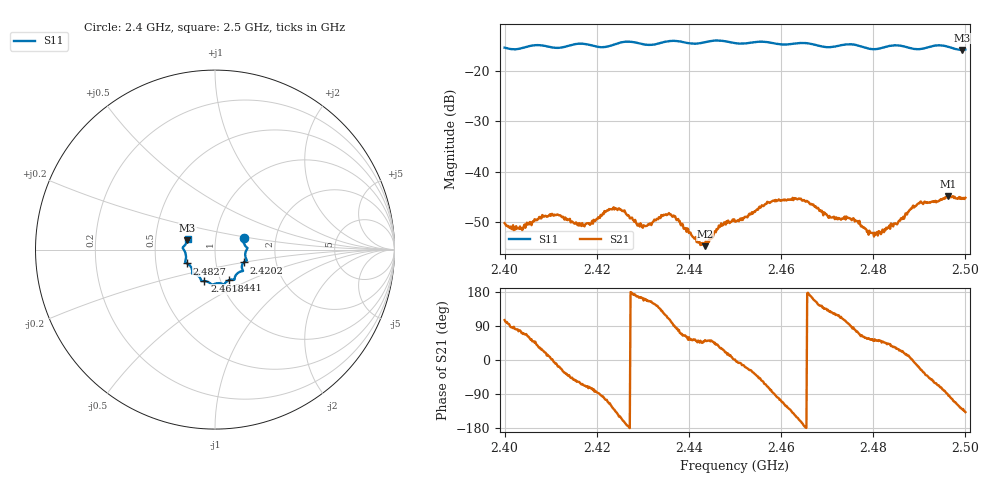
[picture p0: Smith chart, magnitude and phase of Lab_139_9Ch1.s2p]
# Hz S RI R 50
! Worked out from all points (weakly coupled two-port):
!   601 points, 2.4 GHz to 2.5 GHz, reference 50 ohm
!   highest |S21| = -44.86 dB at 2.4962 GHz (marker M1); lowest = -54.9 dB at 2.4435 GHz (marker M2)
!   lowest |S11| = -15.8 dB at 2.4993 GHz (marker M3), VSWR 1.39, Z = 36.5 + j3.83 ohm
!   |S11| at or under -10 dB: start of sweep to end of sweep
!   S12 and S22 are empty: the file has one direction only
!   S11 on the Smith chart (normalised r, x): 2.4 GHz: 1.36, +0.18; 2.4202 GHz: 1.36, -0.20; 2.441 GHz: 1.10, -0.39; 2.4618 GHz: 0.84, -0.30; 2.4827 GHz: 0.72, -0.11; 2.5 GHz: 0.73, +0.09
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2.4e9  0.159 0.063  -0.000813 0.00295  0 0  0 0
2.4035e9  0.1662 0.024  0.000658 0.00261  0 0  0 0
2.410667e9  0.1704 -0.0131  0.00362 -0.000326  0 0  0 0
2.416667e9  0.1772 -0.0609  0.00124 -0.00259  0 0  0 0
2.420167e9  0.159 -0.0713  0.000207 -0.00336  0 0  0 0
2.423833e9  0.1511 -0.1056  -0.00275 -0.00315  0 0  0 0
2.4295e9  0.1415 -0.1227  -0.00296 0.000737  0 0  0 0
2.433333e9  0.1117 -0.1508  -0.00255 0.00217  0 0  0 0
2.4365e9  0.1086 -0.1677  -0.000326 0.00352  0 0  0 0
2.441e9  0.0787 -0.1698  0.00128 0.0018  0 0  0 0
2.4435e9  0.0579 -0.1848  0.0011 0.00143  0 0  0 0
2.4465e9  0.0488 -0.1952  0.00235 0.0017  0 0  0 0
2.45e9  0.0287 -0.1874  0.00317 6.82e-05  0 0  0 0
2.461833e9  -0.059 -0.1753  -0.00335 -0.00403  0 0  0 0
2.466667e9  -0.0788 -0.1684  -0.00454 0.00122  0 0  0 0
2.479167e9  -0.1303 -0.1037  0.00147 0.00212  0 0  0 0
2.482667e9  -0.1559 -0.077  0.00183 0.00185  0 0  0 0
2.483333e9  -0.1603 -0.0749  0.00202 0.00186  0 0  0 0
2.49e9  -0.1635 -0.0242  0.0045 -0.00172  0 0  0 0
2.496167e9  -0.1738 0.018  -6.99e-05 -0.00571  0 0  0 0
2.499333e9  -0.1543 0.0511  -0.00347 -0.0041  0 0  0 0
2.5e9  -0.1525 0.0603  -0.00403 -0.00371  0 0  0 0
